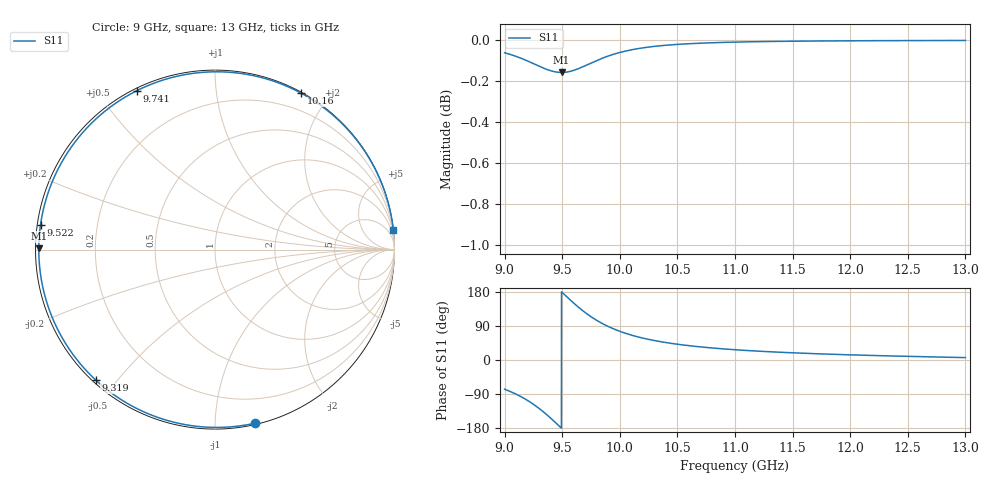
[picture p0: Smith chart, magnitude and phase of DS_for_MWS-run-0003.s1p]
! TOUCHSTONE file generated by CST DESIGN STUDIO
! Date and time: Tue Feb  4 17:19:09 2025
! Project name: C:\Work\MatlabApps\UnitCellOptimizationMatlab\CST\unitcell.cst
! Tree item: Tasks\Sweep1\SPara1\S-Parameters
! Header version: 2024
! Port assignment regex: !\s*Touchstone port\s*([0-9]+)\s*=\s*(CST MWS port|CST DES external port|CST DES block port)\s*(.+)\s* \(\"(.*)\"\)(\s*mode\s*([0-9]+))?.*
! Touchstone port assignment:
! Touchstone port 1 = CST DES external port 1 ("")
# GHz S MA R 50
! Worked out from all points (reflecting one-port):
!   4001 points, 9 GHz to 13 GHz, reference 50 ohm
!   lowest |S11| = -0.2 dB at 9.495 GHz (marker M1), VSWR 109.06, Z = 0.458 + j0.158 ohm
!   phase of S11 starts at -77 deg and turns -276 deg over the sweep
!   S11 on the Smith chart (normalised r, x): 9 GHz: 0.01, -1.25; 9.319 GHz: 0.01, -0.44; 9.522 GHz: 0.01, +0.07; 9.741 GHz: 0.01, +0.62; 10.16 GHz: 0.01, +1.69; 13 GHz: 0, +18
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9  0.9927 -77.2
9.082  0.9911 -87.6
9.183  0.9886 -103.8
9.254  0.9866 -117.7
9.319  0.9847 -132.5
9.366  0.9835 -144.3
9.415  0.9825 -157.6
9.456  0.982 -169.2
9.495  0.9818 179.6
9.5  0.9818 178.2
9.522  0.9819 171.9
9.576  0.9825 156.6
9.636  0.9838 140.6
9.688  0.9852 127.8
9.741  0.9868 116.1
9.794  0.9883 105.7
9.853  0.9898 95.5
9.926  0.9915 84.8
10  0.9929 75.7
10.156  0.995 61.1
10.312  0.9963 50.6
10.5  0.9974 41.6
10.722  0.9981 33.9
11  0.9987 27.1
11.5  0.9991 19.0
12  0.9994 13.6
12.5  0.9995 9.6
13  0.9996 6.3
